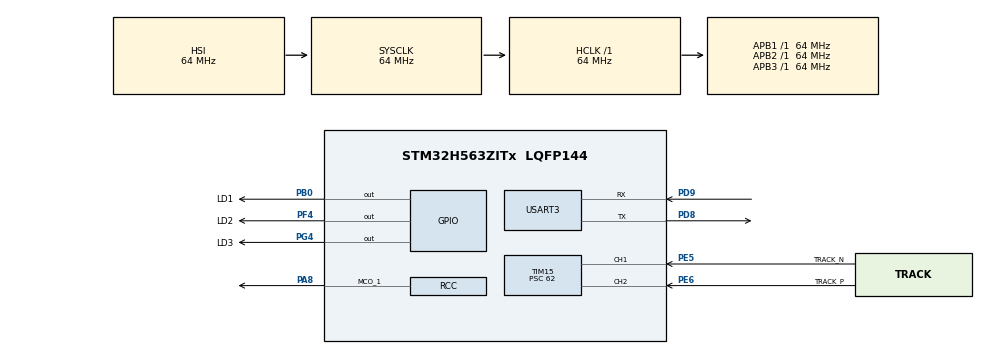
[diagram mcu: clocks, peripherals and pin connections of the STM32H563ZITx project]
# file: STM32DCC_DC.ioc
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BOOTPATH.BootPathName=LEGACY
BOOTPATH.UserSelectedBootPath=LEGACY
CORTEX_M33_NS.userName=CORTEX_M33
Mcu.Family=STM32H5
Mcu.Name=STM32H563ZITx
Mcu.Package=LQFP144
NVIC.PriorityGroup=NVIC_PRIORITYGROUP_4
NVIC.TIM15_IRQn=true\:2\:0\:true\:false\:false\:true\:true\:true
NVIC.TIM5_IRQn=true\:3\:0\:true\:false\:true\:false\:true\:true
NVIC.TimeBase=TIM5_IRQn
NVIC.TimeBaseIP=TIM5
PA8.GPIO_Speed=GPIO_SPEED_FREQ_VERY_HIGH
PA8.Mode=Clock-out
PA8.Signal=RCC_MCO_1
PB0.GPIO_Label=LD1
PB0.Signal=GPIO_Output
PD8.Mode=Asynchronous
PD8.Signal=USART3_TX
PD9.Mode=Asynchronous
PD9.Signal=USART3_RX
PE5.GPIO_Label=TRACK_N
PE5.GPIO_PuPd=GPIO_PULLDOWN
PE5.GPIO_Speed=GPIO_SPEED_FREQ_VERY_HIGH
PE5.Signal=S_TIM15_CH1
PE6.GPIO_Label=TRACK_P
PE6.GPIO_PuPd=GPIO_PULLDOWN
PE6.GPIO_Speed=GPIO_SPEED_FREQ_VERY_HIGH
PE6.Signal=S_TIM15_CH2
PF4.GPIO_Label=LD2
PF4.GPIO_PuPd=GPIO_PULLDOWN
PF4.Signal=GPIO_Output
PG4.GPIO_Label=LD3
PG4.Signal=GPIO_Output
PH0-OSC_IN(PH0).Mode=HSE-DIG-External-Clock-Source
PH0-OSC_IN(PH0).Signal=RCC_OSC_IN
ProjectManager.HeapSize=0x1024
ProjectManager.StackSize=0x2000
ProjectManager.TargetToolchain=CMake
RCC.ADCFreq_Value=64000000
RCC.AHBFreq_Value=64000000
RCC.APB1Freq_Value=64000000
RCC.APB1TimFreq_Value=64000000
RCC.APB2Freq_Value=64000000
RCC.APB2TimFreq_Value=64000000
RCC.APB3Freq_Value=64000000
RCC.CSI_VALUE=4000000
RCC.CortexFreq_Value=64000000
RCC.EPOD_VALUE=4000000
RCC.HCLKFreq_Value=64000000
RCC.HSE_VALUE=25000000
RCC.HSI48_VALUE=48000000
RCC.HSIDiv=RCC_HSI_DIV1
RCC.HSI_VALUE=64000000
RCC.LSE_VALUE=32768
RCC.LSIRC_VALUE=32000
RCC.SYSCLKFreq_VALUE=64000000
RCC.USBFreq_Value=48000000
RCC.VCOOutputFreq_Value=516000000
SH.S_TIM15_CH1.0=TIM15_CH1,Input_Capture1_from_TI1
SH.S_TIM15_CH2.0=TIM15_CH2,Input_Capture2_from_TI2
TIM15.Channel-Input_Capture1_from_TI1=TIM_CHANNEL_1
TIM15.Channel-Input_Capture2_from_TI2=TIM_CHANNEL_2
TIM15.ICPolarity_CH1=TIM_INPUTCHANNELPOLARITY_BOTHEDGE
TIM15.Prescaler=62
USART3.VirtualMode-Asynchronous=VM_ASYNC
VP_BOOTPATH_VS_BOOTPATH.Mode=BP_Activate
VP_CORTEX_M33_NS_VS_Hclk.Mode=Hclk_Mode
VP_ICACHE_VS_ENABLE_ICACHE_MEMORY.Mode=Memoryregions
VP_ICACHE_VS_ICACHE.Mode=DirectMappedCache
VP_MEMORYMAP_VS_MEMORYMAP.Mode=CurAppReg
VP_PWR_VS_LPOM.Mode=PowerOptimisation
VP_PWR_VS_SECSignals.Mode=Security/Privilege
VP_SYS_VS_tim5.Mode=TIM5
VP_TIM15_VS_ClockSourceINT.Mode=Internal
board=custom

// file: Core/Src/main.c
/* USER CODE BEGIN Header */
/**
  ******************************************************************************
  * @file           : main.c
  * @brief          : Main program body
  ******************************************************************************
  * @attention
  *
  * Copyright (c) 2025 STMicroelectronics.
  * All rights reserved.
  *
  * This software is licensed under terms that can be found in the LICENSE file
  * in the root directory of this software component.
  * If no LICENSE file comes with this software, it is provided AS-IS.
  *
  ******************************************************************************
  */
/* USER CODE END Header */
#include "main.h"

/* USER CODE BEGIN PTD */
extern void decoder_main(void);
/* USER CODE END PTD */

UART_HandleTypeDef huart3;

void SystemClock_Config(void);
static void MX_GPIO_Init(void);
static void MX_USART3_UART_Init(void);
static void MX_ICACHE_Init(void);
static void MX_TIM15_Init(void);
/* USER CODE BEGIN PFP */
#if defined(__ICCARM__)
/* New definition from EWARM V9, compatible with EWARM8 */
int iar_fputc(int ch);
#define PUTCHAR_PROTOTYPE int iar_fputc(int ch)
#elif defined ( __CC_ARM ) || defined(__ARMCC_VERSION)
/* ARM Compiler 5/6*/
#define PUTCHAR_PROTOTYPE int fputc(int ch, FILE *f)
#elif defined(__GNUC__)
#define PUTCHAR_PROTOTYPE int __io_putchar(int ch)
#endif /* __ICCARM__ */

/* USER CODE END PFP */

/* USER CODE BEGIN 0 */

void bsp_write_green_led(bool on) {
  if (on) HAL_GPIO_WritePin(LD1_GPIO_Port, LD1_Pin, GPIO_PIN_SET);
  else HAL_GPIO_WritePin(LD1_GPIO_Port, LD1_Pin, GPIO_PIN_RESET);
}

void bsp_write_yellow_led(bool on) {
  if (on) HAL_GPIO_WritePin(LD2_GPIO_Port, LD2_Pin, GPIO_PIN_SET);
  else HAL_GPIO_WritePin(LD2_GPIO_Port, LD2_Pin, GPIO_PIN_RESET);
}

void bsp_write_red_led(bool on) {
  if (on) HAL_GPIO_WritePin(LD3_GPIO_Port, LD3_Pin, GPIO_PIN_SET);
  else HAL_GPIO_WritePin(LD3_GPIO_Port, LD3_Pin, GPIO_PIN_RESET);
}

/* USER CODE END 0 */

int main(void)
{

  /* MCU Configuration--------------------------------------------------------*/

  /* Reset of all peripherals, Initializes the Flash interface and the Systick. */
  HAL_Init();

  /* Configure the system clock */
  SystemClock_Config();

  /* Initialize all configured peripherals */
  MX_GPIO_Init();
  MX_USART3_UART_Init();
  MX_ICACHE_Init();
  MX_TIM15_Init();

  /* Infinite loop */
  /* USER CODE BEGIN WHILE */
  while (1)
  {
    decoder_main();
    break;
    /* USER CODE END WHILE */

  }
}

void SystemClock_Config(void)
{
  RCC_OscInitTypeDef RCC_OscInitStruct = {0};
  RCC_ClkInitTypeDef RCC_ClkInitStruct = {0};

  /** Configure the main internal regulator output voltage
  */
  __HAL_PWR_VOLTAGESCALING_CONFIG(PWR_REGULATOR_VOLTAGE_SCALE3);

  while(!__HAL_PWR_GET_FLAG(PWR_FLAG_VOSRDY)) {}

  /** Initializes the RCC Oscillators according to the specified parameters
  * in the RCC_OscInitTypeDef structure.
  */
  RCC_OscInitStruct.OscillatorType = RCC_OSCILLATORTYPE_HSI|RCC_OSCILLATORTYPE_CSI;
  RCC_OscInitStruct.HSIState = RCC_HSI_ON;
  RCC_OscInitStruct.HSIDiv = RCC_HSI_DIV1;
  RCC_OscInitStruct.HSICalibrationValue = RCC_HSICALIBRATION_DEFAULT;
  RCC_OscInitStruct.CSIState = RCC_CSI_ON;
  RCC_OscInitStruct.CSICalibrationValue = RCC_CSICALIBRATION_DEFAULT;
  RCC_OscInitStruct.PLL.PLLState = RCC_PLL_NONE;
  if (HAL_RCC_OscConfig(&RCC_OscInitStruct) != HAL_OK)
  {
    Error_Handler();
  }

  /** Initializes the CPU, AHB and APB buses clocks
  */
  RCC_ClkInitStruct.ClockType = RCC_CLOCKTYPE_HCLK|RCC_CLOCKTYPE_SYSCLK
                              |RCC_CLOCKTYPE_PCLK1|RCC_CLOCKTYPE_PCLK2
                              |RCC_CLOCKTYPE_PCLK3;
  RCC_ClkInitStruct.SYSCLKSource = RCC_SYSCLKSOURCE_HSI;
  RCC_ClkInitStruct.AHBCLKDivider = RCC_SYSCLK_DIV1;
  RCC_ClkInitStruct.APB1CLKDivider = RCC_HCLK_DIV1;
  RCC_ClkInitStruct.APB2CLKDivider = RCC_HCLK_DIV1;
  RCC_ClkInitStruct.APB3CLKDivider = RCC_HCLK_DIV1;

  if (HAL_RCC_ClockConfig(&RCC_ClkInitStruct, FLASH_LATENCY_3) != HAL_OK)
  {
    Error_Handler();
  }
  HAL_RCC_MCOConfig(RCC_MCO1, RCC_MCO1SOURCE_HSI, RCC_MCODIV_1);

  /** Enables PLL2P clock output
  */
  __HAL_RCC_TIMIC_ENABLE();

  /** Configure the programming delay
  */
  __HAL_FLASH_SET_PROGRAM_DELAY(FLASH_PROGRAMMING_DELAY_1);
}

static void MX_ICACHE_Init(void)
{

  /** Enable instruction cache in 1-way (direct mapped cache)
  */
  if (HAL_ICACHE_ConfigAssociativityMode(ICACHE_1WAY) != HAL_OK)
  {
    Error_Handler();
  }
  if (HAL_ICACHE_Enable() != HAL_OK)
  {
    Error_Handler();
  }

}

static void MX_TIM15_Init(void)
{

  LL_TIM_InitTypeDef TIM_InitStruct = {0};

  LL_GPIO_InitTypeDef GPIO_InitStruct = {0};

  /* Peripheral clock enable */
  LL_APB2_GRP1_EnableClock(LL_APB2_GRP1_PERIPH_TIM15);

  LL_AHB2_GRP1_EnableClock(LL_AHB2_GRP1_PERIPH_GPIOE);
  /**TIM15 GPIO Configuration
  PE5   ------> TIM15_CH1
  PE6   ------> TIM15_CH2
  */
  GPIO_InitStruct.Pin = LL_GPIO_PIN_5|LL_GPIO_PIN_6;
  GPIO_InitStruct.Mode = LL_GPIO_MODE_ALTERNATE;
  GPIO_InitStruct.Speed = LL_GPIO_SPEED_FREQ_VERY_HIGH;
  GPIO_InitStruct.OutputType = LL_GPIO_OUTPUT_PUSHPULL;
  GPIO_InitStruct.Pull = LL_GPIO_PULL_DOWN;
  GPIO_InitStruct.Alternate = LL_GPIO_AF_4;
  LL_GPIO_Init(GPIOE, &GPIO_InitStruct);

  /* TIM15 interrupt Init */
  NVIC_SetPriority(TIM15_IRQn, NVIC_EncodePriority(NVIC_GetPriorityGrouping(),2, 0));
  NVIC_EnableIRQ(TIM15_IRQn);

  TIM_InitStruct.Prescaler = 62;
  TIM_InitStruct.CounterMode = LL_TIM_COUNTERMODE_UP;
  TIM_InitStruct.Autoreload = 65535;
  TIM_InitStruct.ClockDivision = LL_TIM_CLOCKDIVISION_DIV1;
  TIM_InitStruct.RepetitionCounter = 0;
  LL_TIM_Init(TIM15, &TIM_InitStruct);
  LL_TIM_DisableARRPreload(TIM15);
  LL_TIM_SetClockSource(TIM15, LL_TIM_CLOCKSOURCE_INTERNAL);
  LL_TIM_SetTriggerOutput(TIM15, LL_TIM_TRGO_RESET);
  LL_TIM_DisableMasterSlaveMode(TIM15);
  LL_TIM_IC_SetActiveInput(TIM15, LL_TIM_CHANNEL_CH1, LL_TIM_ACTIVEINPUT_DIRECTTI);
  LL_TIM_IC_SetPrescaler(TIM15, LL_TIM_CHANNEL_CH1, LL_TIM_ICPSC_DIV1);
  LL_TIM_IC_SetFilter(TIM15, LL_TIM_CHANNEL_CH1, LL_TIM_IC_FILTER_FDIV1);
  LL_TIM_IC_SetPolarity(TIM15, LL_TIM_CHANNEL_CH1, LL_TIM_IC_POLARITY_BOTHEDGE);
  LL_TIM_IC_SetActiveInput(TIM15, LL_TIM_CHANNEL_CH2, LL_TIM_ACTIVEINPUT_DIRECTTI);
  LL_TIM_IC_SetPrescaler(TIM15, LL_TIM_CHANNEL_CH2, LL_TIM_ICPSC_DIV1);
  LL_TIM_IC_SetFilter(TIM15, LL_TIM_CHANNEL_CH2, LL_TIM_IC_FILTER_FDIV1);
  LL_TIM_IC_SetPolarity(TIM15, LL_TIM_CHANNEL_CH2, LL_TIM_IC_POLARITY_RISING);
  /* USER CODE BEGIN TIM15_Init 2 */
  // Start input capture with interrupt
  LL_TIM_CC_EnableChannel(TIM15, LL_TIM_CHANNEL_CH1);
  LL_TIM_EnableIT_CC1(TIM15);
  LL_TIM_EnableCounter(TIM15);
  /* USER CODE END TIM15_Init 2 */

}

static void MX_USART3_UART_Init(void)
{

  huart3.Instance = USART3;
  huart3.Init.BaudRate = 115200;
  huart3.Init.WordLength = UART_WORDLENGTH_8B;
  huart3.Init.StopBits = UART_STOPBITS_1;
  huart3.Init.Parity = UART_PARITY_NONE;
  huart3.Init.Mode = UART_MODE_TX_RX;
  huart3.Init.HwFlowCtl = UART_HWCONTROL_NONE;
  huart3.Init.OverSampling = UART_OVERSAMPLING_16;
  huart3.Init.OneBitSampling = UART_ONE_BIT_SAMPLE_DISABLE;
  huart3.Init.ClockPrescaler = UART_PRESCALER_DIV1;
  huart3.AdvancedInit.AdvFeatureInit = UART_ADVFEATURE_NO_INIT;
  if (HAL_UART_Init(&huart3) != HAL_OK)
  {
    Error_Handler();
  }
  if (HAL_UARTEx_SetTxFifoThreshold(&huart3, UART_TXFIFO_THRESHOLD_1_8) != HAL_OK)
  {
    Error_Handler();
  }
  if (HAL_UARTEx_SetRxFifoThreshold(&huart3, UART_RXFIFO_THRESHOLD_1_8) != HAL_OK)
  {
    Error_Handler();
  }
  if (HAL_UARTEx_DisableFifoMode(&huart3) != HAL_OK)
  {
    Error_Handler();
  }

}

static void MX_GPIO_Init(void)
{
  GPIO_InitTypeDef GPIO_InitStruct = {0};

  /* GPIO Ports Clock Enable */
  __HAL_RCC_GPIOE_CLK_ENABLE();
  __HAL_RCC_GPIOF_CLK_ENABLE();
  __HAL_RCC_GPIOH_CLK_ENABLE();
  __HAL_RCC_GPIOB_CLK_ENABLE();
  __HAL_RCC_GPIOD_CLK_ENABLE();
  __HAL_RCC_GPIOG_CLK_ENABLE();
  __HAL_RCC_GPIOA_CLK_ENABLE();

  /*Configure GPIO pin Output Level */
  HAL_GPIO_WritePin(LD2_GPIO_Port, LD2_Pin, GPIO_PIN_RESET);

  /*Configure GPIO pin Output Level */
  HAL_GPIO_WritePin(LD1_GPIO_Port, LD1_Pin, GPIO_PIN_RESET);

  /*Configure GPIO pin Output Level */
  HAL_GPIO_WritePin(LD3_GPIO_Port, LD3_Pin, GPIO_PIN_RESET);

  /*Configure GPIO pin : LD2_Pin */
  GPIO_InitStruct.Pin = LD2_Pin;
  GPIO_InitStruct.Mode = GPIO_MODE_OUTPUT_PP;
  GPIO_InitStruct.Pull = GPIO_PULLDOWN;
  GPIO_InitStruct.Speed = GPIO_SPEED_FREQ_LOW;
  HAL_GPIO_Init(LD2_GPIO_Port, &GPIO_InitStruct);

  /*Configure GPIO pin : LD1_Pin */
  GPIO_InitStruct.Pin = LD1_Pin;
  GPIO_InitStruct.Mode = GPIO_MODE_OUTPUT_PP;
  GPIO_InitStruct.Pull = GPIO_NOPULL;
  GPIO_InitStruct.Speed = GPIO_SPEED_FREQ_LOW;
  HAL_GPIO_Init(LD1_GPIO_Port, &GPIO_InitStruct);

  /*Configure GPIO pin : LD3_Pin */
  GPIO_InitStruct.Pin = LD3_Pin;
  GPIO_InitStruct.Mode = GPIO_MODE_OUTPUT_PP;
  GPIO_InitStruct.Pull = GPIO_NOPULL;
  GPIO_InitStruct.Speed = GPIO_SPEED_FREQ_LOW;
  HAL_GPIO_Init(LD3_GPIO_Port, &GPIO_InitStruct);

  /*Configure GPIO pin : PA8 */
  GPIO_InitStruct.Pin = GPIO_PIN_8;
  GPIO_InitStruct.Mode = GPIO_MODE_AF_PP;
  GPIO_InitStruct.Pull = GPIO_NOPULL;
  GPIO_InitStruct.Speed = GPIO_SPEED_FREQ_VERY_HIGH;
  GPIO_InitStruct.Alternate = GPIO_AF0_MCO;
  HAL_GPIO_Init(GPIOA, &GPIO_InitStruct);

}

/* USER CODE BEGIN 4 */
/**
  * @brief  Retargets the C library __write function to the IAR function iar_fputc.
  * @param  file: file descriptor.
  * @param  ptr: pointer to the buffer where the data is stored.
  * @param  len: length of the data to write in bytes.
  * @retval length of the written data in bytes.
  */
int _write(int file, char *data, int len)
{
    (void)(file);
    // Transmit data using UART
    for (int i = 0; i < len; i++)
    {
        // Send the character
        USART3->TDR = (uint16_t)data[i];
        // Wait for the transmit buffer to be empty
        while (!(USART3->ISR & USART_ISR_TXE));
    }
    return len;
}

/**
  * @brief  Retargets the C library printf function to the USART.
  */
PUTCHAR_PROTOTYPE
{
  /* Place your implementation of putchar here */
  /* e.g. write a character to the USART3 and Loop until the end of transmission */
  HAL_UART_Transmit(&huart3, (uint8_t *)&ch, 1, 0xFFFF);

  return ch;
}

/* USER CODE END 4 */

void HAL_TIM_PeriodElapsedCallback(TIM_HandleTypeDef *htim)
{
  if (htim->Instance == TIM5)
  {
    HAL_IncTick();
  }
}

void Error_Handler(void)
{
  __disable_irq();
  while (1)
  {
  }
}
